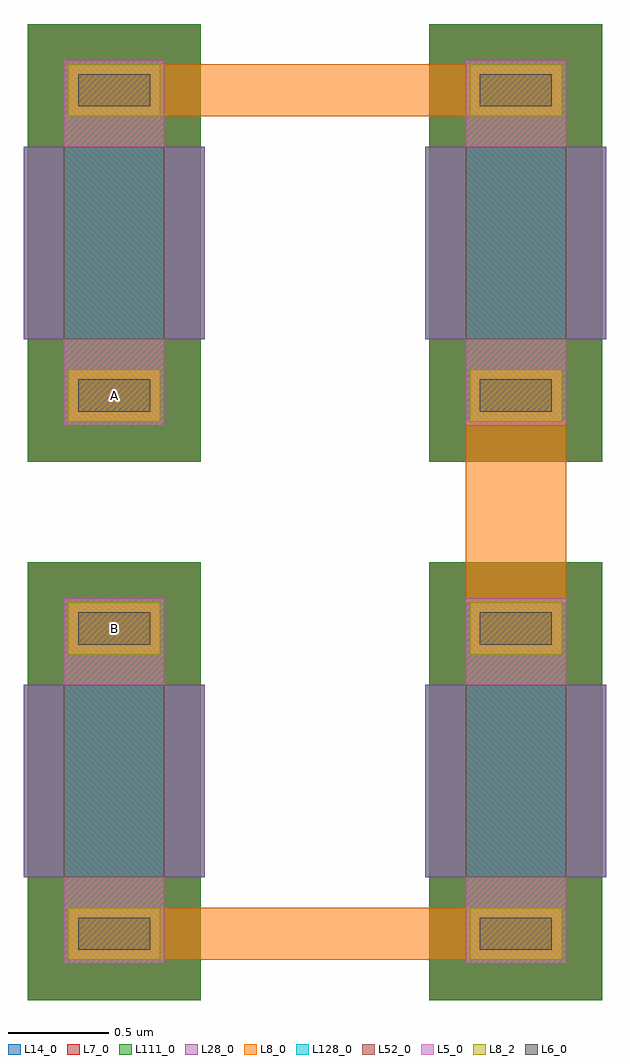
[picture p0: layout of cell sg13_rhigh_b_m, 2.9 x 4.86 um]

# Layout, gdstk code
from math import pi, radians
import gdstk
lib = gdstk.Library(unit=1e-6, precision=1e-09)
def R(c, l, rs):  # rectangles x0, y0, x1, y1
    for r in rs: c.add(gdstk.rectangle(r[:2], r[2:], *l))
L5_0 = (5, 0)
L6_0 = (6, 0)
L7_0 = (7, 0)
L8_0 = (8, 0)
L8_2 = (8, 2)
L14_0 = (14, 0)
L28_0 = (28, 0)
L52_0 = (52, 0)
L111_0 = (111, 0)
L128_0 = (128, 0)

rhigh = lib.new_cell('rhigh')
R(rhigh, L5_0, [(0,-0.43,0.5,0), (2,-0.43,2.5,0), (0,0.96,0.5,1.39), (2,0.96,2.5,1.39)])
R(rhigh, L6_0, [(0.07,-0.36,0.43,-0.2), (2.07,-0.36,2.43,-0.2), (0.07,1.16,0.43,1.32), (2.07,1.16,2.43,1.32)])
R(rhigh, L7_0, [(-0.18,-0.61,0.68,0.18), (1.82,-0.61,2.68,0.18), (-0.18,0,0.68,0.96), (-0.18,0,0.68,0.96), (1.82,0,2.68,0.96), (1.82,0,2.68,0.96), (-0.18,0.78,0.68,1.57), (1.82,0.78,2.68,1.57)])
R(rhigh, L8_0, [(0.02,-0.41,0.48,-0.15), (2.02,-0.41,2.48,-0.15), (0.02,1.11,0.48,1.37), (0.02,1.11,2.48,1.37), (2.02,1.11,2.48,1.37)])
R(rhigh, L8_2, [(0.02,-0.41,0.48,-0.15), (2.02,-0.41,2.48,-0.15), (0.02,1.11,0.48,1.37), (2.02,1.11,2.48,1.37)])
R(rhigh, L14_0, [(-0.18,-0.61,0.68,0.18), (1.82,-0.61,2.68,0.18), (-0.18,0,0.68,0.96), (-0.18,0,0.68,0.96), (1.82,0,2.68,0.96), (1.82,0,2.68,0.96), (-0.18,0.78,0.68,1.57), (1.82,0.78,2.68,1.57)])
R(rhigh, L28_0, [(-0.2,0,0.7,0.96), (1.8,0,2.7,0.96)])
R(rhigh, L52_0, [(0,0,0.5,0.96), (2,0,2.5,0.96)])
R(rhigh, L111_0, [(-0.18,-0.61,0.68,0.18), (1.82,-0.61,2.68,0.18), (-0.2,0,0.7,0.96), (1.8,0,2.7,0.96), (-0.18,0.78,0.68,1.57), (1.82,0.78,2.68,1.57)])
R(rhigh, L128_0, [(0,0,0.5,0.96), (2,0,2.5,0.96)])
rhigh.add(gdstk.Label('rhigh r=3158.261', (0.25,0.48), layer=63, texttype=0))
rhigh.add(gdstk.Label('rhigh r=3158.261', (0.25,0.48), layer=63, texttype=0))
rhigh.add(gdstk.Label('rhigh', (0.25,0.48), layer=52, texttype=0))
rhigh.add(gdstk.Label('rhigh', (2.25,0.48), layer=52, texttype=0))

sg13_rhigh_b_m = lib.new_cell('sg13_rhigh_b_m')
R(sg13_rhigh_b_m, L8_2, [(0.455,-0.895,0.585,-0.765), (0.455,0.265,0.585,0.395)])
sg13_rhigh_b_m.add(gdstk.FlexPath([(2.52,0.2),(2.52,-0.7)], 0.5, ends="flush", simple_path=True, layer=8, datatype=0))  # L8_0
sg13_rhigh_b_m.add(gdstk.Reference(rhigh, (0.27,0.61)))
sg13_rhigh_b_m.add(gdstk.Reference(rhigh, (2.77,-1.11), rotation=pi))
sg13_rhigh_b_m.add(gdstk.Label('A', (0.52,0.33), layer=8, texttype=25))
sg13_rhigh_b_m.add(gdstk.Label('B', (0.52,-0.83), layer=8, texttype=25))

lib.write_gds('sg13_rhigh_b_m.gds')
